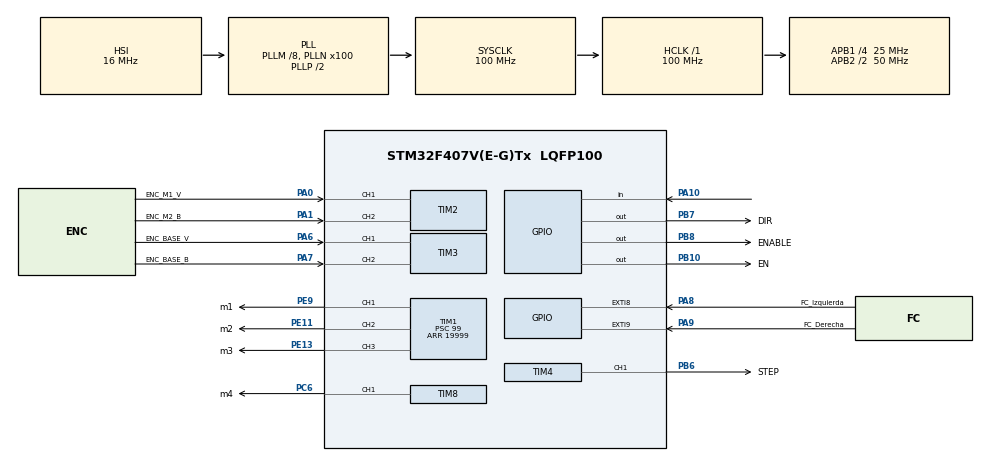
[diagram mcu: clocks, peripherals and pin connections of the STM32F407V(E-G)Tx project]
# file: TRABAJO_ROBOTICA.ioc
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Mcu.Family=STM32F4
Mcu.Name=STM32F407V(E-G)Tx
Mcu.Package=LQFP100
NVIC.PriorityGroup=NVIC_PRIORITYGROUP_0
PA0-WKUP.GPIO_Label=ENC_M1_V
PA0-WKUP.GPIO_PuPd=GPIO_PULLUP
PA0-WKUP.Signal=S_TIM2_CH1_ETR
PA1.GPIO_Label=ENC_M2_B
PA1.GPIO_PuPd=GPIO_PULLUP
PA1.Signal=S_TIM2_CH2
PA10.GPIO_PuPd=GPIO_PULLUP
PA10.Signal=GPIO_Input
PA6.GPIO_Label=ENC_BASE_V
PA6.GPIO_PuPd=GPIO_PULLUP
PA6.Signal=S_TIM3_CH1
PA7.GPIO_Label=ENC_BASE_B
PA7.GPIO_PuPd=GPIO_PULLUP
PA7.Signal=S_TIM3_CH2
PA8.GPIO_Label=FC_Izquierda
PA8.GPIO_ModeDefaultEXTI=GPIO_MODE_IT_FALLING
PA8.GPIO_PuPd=GPIO_PULLUP
PA8.Signal=GPXTI8
PA9.GPIO_Label=FC_Derecha
PA9.GPIO_ModeDefaultEXTI=GPIO_MODE_IT_FALLING
PA9.GPIO_PuPd=GPIO_PULLUP
PA9.Signal=GPXTI9
PB10.GPIO_Label=EN
PB10.Signal=GPIO_Output
PB6.GPIO_Label=STEP
PB6.Signal=S_TIM4_CH1
PB7.GPIO_Label=DIR
PB7.Signal=GPIO_Output
PB8.GPIO_Label=ENABLE
PB8.Signal=GPIO_Output
PC6.GPIO_Label=m4
PC6.Signal=S_TIM8_CH1
PE11.GPIO_Label=m2
PE11.Signal=S_TIM1_CH2
PE13.GPIO_Label=m3
PE13.Signal=S_TIM1_CH3
PE9.GPIO_Label=m1
PE9.Signal=S_TIM1_CH1
ProjectManager.HeapSize=0x200
ProjectManager.StackSize=0x400
ProjectManager.TargetToolchain=STM32CubeIDE
RCC.48MHZClocksFreq_Value=28571428.57142857
RCC.AHBFreq_Value=100000000
RCC.APB1CLKDivider=RCC_HCLK_DIV4
RCC.APB1Freq_Value=25000000
RCC.APB1TimFreq_Value=50000000
RCC.APB2CLKDivider=RCC_HCLK_DIV2
RCC.APB2Freq_Value=50000000
RCC.APB2TimFreq_Value=100000000
RCC.CortexFreq_Value=100000000
RCC.HCLKFreq_Value=100000000
RCC.HSE_VALUE=8000000
RCC.HSI_VALUE=16000000
RCC.LSE_VALUE=32768
RCC.PLLM=8
RCC.PLLN=100
RCC.PLLQ=7
RCC.SYSCLKFreq_VALUE=100000000
RCC.SYSCLKSource=RCC_SYSCLKSOURCE_PLLCLK
RCC.VCOOutputFreq_Value=200000000
SH.S_TIM1_CH1.0=TIM1_CH1,PWM Generation1 CH1
SH.S_TIM1_CH2.0=TIM1_CH2,PWM Generation2 CH2
SH.S_TIM1_CH3.0=TIM1_CH3,PWM Generation3 CH3
SH.S_TIM2_CH1_ETR.0=TIM2_CH1,Encoder_Interface
SH.S_TIM2_CH2.0=TIM2_CH2,Encoder_Interface
SH.S_TIM3_CH1.0=TIM3_CH1,Encoder_Interface
SH.S_TIM3_CH2.0=TIM3_CH2,Encoder_Interface
SH.S_TIM4_CH1.0=TIM4_CH1,PWM Generation1 CH1
SH.S_TIM8_CH1.0=TIM8_CH1,PWM Generation1 CH1
TIM1.Channel-PWM\ Generation1\ CH1=TIM_CHANNEL_1
TIM1.Channel-PWM\ Generation2\ CH2=TIM_CHANNEL_2
TIM1.Channel-PWM\ Generation3\ CH3=TIM_CHANNEL_3
TIM1.Period=19999
TIM1.Prescaler=99
TIM2.EncoderMode=TIM_ENCODERMODE_TI1
TIM2.IC1Filter=8
TIM2.IC2Filter=8
TIM3.IC1Filter=8
TIM4.Channel-PWM\ Generation1\ CH1=TIM_CHANNEL_1
TIM4.Period=1999
TIM4.Prescaler=49
TIM4.Pulse-PWM\ Generation1\ CH1=1000
TIM8.Channel-PWM\ Generation1\ CH1=TIM_CHANNEL_1
TIM8.Period=19999
TIM8.Prescaler=99
VP_TIM1_VS_ClockSourceINT.Mode=Internal
board=STM32F407G-DISC1

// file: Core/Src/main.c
/* USER CODE BEGIN Header */
/**
  ******************************************************************************
  * @file           : main.c
  * @brief          : Main program body
  ******************************************************************************
  * @attention
  *
  * Copyright (c) 2026 STMicroelectronics.
  * All rights reserved.
  *
  * This software is licensed under terms that can be found in the LICENSE file
  * in the root directory of this software component.
  * If no LICENSE file comes with this software, it is provided AS-IS.
  *
  ******************************************************************************
  */
/* USER CODE END Header */
#include "main.h"

/* USER CODE BEGIN Includes */

#include <math.h>

/* USER CODE END Includes */

TIM_HandleTypeDef htim1;
TIM_HandleTypeDef htim2;
TIM_HandleTypeDef htim3;
TIM_HandleTypeDef htim4;
TIM_HandleTypeDef htim8;

/* USER CODE BEGIN PV */

//------------------stepper-------------------------------------------

#define STEP_TIM                htim4
#define STEP_TIM_CHANNEL        TIM_CHANNEL_1

#define STEP_DIR_PORT           GPIOB
#define STEP_DIR_PIN            GPIO_PIN_7

#define STEP_EN_PORT            GPIOB
#define STEP_EN_PIN             GPIO_PIN_8

#define DIR_POSITIVE            GPIO_PIN_SET
#define DIR_NEGATIVE            GPIO_PIN_RESET

// TIM4 está en APB1. Con tu clock: APB1 timer clock = 50 MHz.
// Prescaler TIM4 = 49 -> tick = 1 MHz -> 1 us.
#define STEP_TIMER_TICK_HZ      1000000UL

// Full-step
#define MICROSTEP               1.0f
#define FULL_STEPS_PER_REV      200.0f
#define STEPS_PER_REV           (FULL_STEPS_PER_REV * MICROSTEP)

// Corredera: 8 mm por vuelta
#define MM_PER_REV              8.0f
#define STEPS_PER_MM            (STEPS_PER_REV / MM_PER_REV)

// Velocidad elegida
#define BASE_SPEED_MM_S         40.0f
#define MIN_SPEED_MM_S          10.0f

volatile uint8_t stepper_is_running = 0;
volatile uint8_t stepper_current_dir = 0;

#define DIR_TO_RIGHT            0
#define DIR_TO_LEFT             1

//-----------------------------------------------------------------------

//------------------FCs-------------------------------------------

// PA9 = final derecho
// PA8 = final izquierdo

#define LIMIT_RIGHT_PORT        GPIOA
#define LIMIT_RIGHT_PIN         GPIO_PIN_9

#define LIMIT_LEFT_PORT         GPIOA
#define LIMIT_LEFT_PIN          GPIO_PIN_8

volatile uint8_t limit_right_hit = 0;
volatile uint8_t limit_left_hit = 0;

volatile uint32_t last_limit_right_ms = 0;
volatile uint32_t last_limit_left_ms = 0;
//-----------------------------------------------------------------------

//------------------Encoder_Base-------------------------------------------

#define ENC_TIM                 htim3

volatile int32_t encoder_position_counts = 0;
static uint16_t encoder_last_raw = 0;

volatile int32_t encoder_total_counts = 0;
volatile int32_t encoder_mid_counts = 0;

volatile uint8_t homing_done = 0;

// Debug
volatile uint16_t dbg_enc_raw = 0;
volatile int32_t dbg_enc_pos = 0;
volatile int32_t dbg_enc_total = 0;
volatile int32_t dbg_enc_mid = 0;
volatile uint8_t dbg_homing_state = 0;

volatile uint8_t dbg_limit_right = 0;
volatile uint8_t dbg_limit_left = 0;

//-----------------------------------------------------------------------

//------------------Maquina estados Homing-------------------------------------------
typedef enum
{
    HOMING_START = 0,
    HOMING_MOVE_TO_RIGHT,
    HOMING_AT_RIGHT,
    HOMING_MOVE_TO_LEFT,
    HOMING_AT_LEFT,
    HOMING_MOVE_TO_MID,
    HOMING_DONE
} HomingState;

volatile HomingState homing_state = HOMING_START;

// Margen de parada en cuentas de encoder para el punto medio.
#define MID_TOLERANCE_COUNTS    10

//-----------------------------------------------------------------------

//------------------Motor M1 + FC-------------------------------------------
#define M1_SERVO_TIM            htim1
#define M1_SERVO_CHANNEL        TIM_CHANNEL_1   // Cambiar a CH2/CH3 si tu señal está en otro pin

// Para esta prueba uso PA8 como final de cero.
// Si el final de motor 1 está en otro pin, cambia estas dos líneas.
#define M1_ZERO_FC_PORT         GPIOA
#define M1_ZERO_FC_PIN          GPIO_PIN_10

// Servo continuo: ajustar si tu servo no se queda quieto exactamente en 1500
#define M1_SERVO_STOP_US        1500

// Velocidad lenta hacia el final.
// Si se mueve en sentido contrario al final, cambia 1420 por 1580.
#define M1_SERVO_HOME_US        1200

#define M1_SERVO_MIN_US         1000
#define M1_SERVO_MAX_US         2000

// Seguridad: si en 3 s no encuentra el final, para.
#define M1_HOME_TIMEOUT_MS      1500

// Antirrebote del final
#define M1_FC_DEBOUNCE_MS       30

typedef enum
{
    M1_IDLE = 0,
    M1_HOMING,
    M1_ZERO_OK,
    M1_ERROR_TIMEOUT
} Motor1State;

volatile Motor1State m1_state = M1_IDLE;

volatile uint8_t m1_zero_done = 0;
volatile uint8_t m1_error = 0;

volatile uint16_t dbg_m1_pwm_us = 1500;
volatile uint8_t dbg_m1_fc_zero = 0;
volatile uint8_t dbg_m1_state = 0;

static uint32_t m1_home_start_ms = 0;
static uint32_t m1_fc_pressed_since_ms = 0;

//-----------------------------------------------------------------------

//------------------------------Encoder Motor 1-----------------------------------------
#define M1_ENC_TIM              htim2

volatile int32_t m1_encoder_counts = 0;
volatile int32_t m1_encoder_zero_counts = 0;

volatile int32_t dbg_m1_enc_counts = 0;
volatile uint32_t dbg_m1_enc_raw = 0;

//-----------------------------------------------------------------------

//------------------ Control posicion Motor 1 ----------------------------

// IMPORTANTE:
// Este valor hay que calibrarlo.
// Después de hacer homing, mueve el eje hasta 180 grados físicos
// y mira dbg_m1_enc_counts. Ese valor será M1_COUNTS_180.
#define M1_COUNTS_180              1000.0f   // provisional, luego se cambia
#define M1_HOME_POSITION_DEG        90.0f
#define M1_CONTROL_PERIOD_MS       10

#define M1_POS_TOLERANCE_DEG       0.8f
#define M1_POS_RELEASE_DEG         1.8f

// PWM alrededor del neutro
#define M1_PWM_MIN_MOVE_US         45.0f
#define M1_PWM_MAX_DELTA_US        500.0f

// Ganancia proporcional: us de PWM por grado de error
#define M1_KP_US_PER_DEG           8.0f

#define M1_FAST_ERROR_DEG          15.0f
#define M1_MEDIUM_ERROR_DEG        5.0f

#define M1_PWM_FAST_DELTA_US       500.0f
#define M1_PWM_MEDIUM_DELTA_US     280.0f
#define M1_PWM_NEAR_DELTA_US       100.0f

// Si al mandar +30 grados se mueve hacia el final PA10, cambia esto a -1
#define M1_CONTROL_SIGN            1

volatile float m1_target_deg = 0.0f;
volatile float m1_current_deg = 0.0f;
volatile float m1_error_deg = 0.0f;

volatile uint8_t m1_position_control_enabled = 0;

volatile uint16_t dbg_m1_control_pwm = 1500;
volatile float dbg_m1_target_deg = 0.0f;
volatile float dbg_m1_current_deg = 0.0f;
volatile float dbg_m1_error_deg = 0.0f;
volatile uint8_t m1_in_position = 0;

//-----------------------------------------------------------------------

//------------------ Servos posicionales TIM1 CH2 / CH3 ------------------

#define POS_SERVO_TIM              htim1

#define SERVO2_CHANNEL             TIM_CHANNEL_2
#define SERVO3_CHANNEL             TIM_CHANNEL_3

// Rango seguro inicial.
// Si tus servos aceptan más recorrido, luego podemos probar 500-2500.
#define POS_SERVO_MIN_US           500
#define POS_SERVO_MAX_US           2500
#define POS_SERVO_CENTER_US        1500

#define SERVO2_HOME_DEG            90.0f
#define SERVO3_HOME_DEG            90.0f

// Límites lógicos de seguridad
#define SERVO2_MIN_DEG             0.0f
#define SERVO2_MAX_DEG             180.0f

#define SERVO3_MIN_DEG             0.0f
#define SERVO3_MAX_DEG             180.0f

// Si alguno gira al revés físicamente, cambia su INVERT a 1
#define SERVO2_INVERT              0
#define SERVO3_INVERT              0

volatile float servo2_target_deg = 90.0f;
volatile float servo3_target_deg = 90.0f;

volatile uint16_t dbg_servo2_pwm_us = 1500;
volatile uint16_t dbg_servo3_pwm_us = 1500;

volatile float dbg_servo2_deg = 90.0f;
volatile float dbg_servo3_deg = 90.0f;

//-----------------------------------------------------------------------

//------------------ Servo pequeño TIM8 CH1 ------------------

#define SMALL_SERVO_TIM              htim8
#define SMALL_SERVO_CHANNEL          TIM_CHANNEL_1

#define SMALL_SERVO_MIN_US           500
#define SMALL_SERVO_MAX_US           2500
#define SMALL_SERVO_CENTER_US        1500

#define SMALL_SERVO_HOME_DEG         90.0f

#define SMALL_SERVO_MIN_DEG          0.0f
#define SMALL_SERVO_MAX_DEG          180.0f

// Si gira al revés, cambiar a 1
#define SMALL_SERVO_INVERT           0

volatile float small_servo_target_deg = 90.0f;
volatile float dbg_small_servo_deg = 90.0f;
volatile uint16_t dbg_small_servo_pwm_us = 1500;

//-----------------------------------------------------------------------

/* USER CODE END PV */

void SystemClock_Config(void);
static void MX_GPIO_Init(void);
static void MX_TIM1_Init(void);
static void MX_TIM2_Init(void);
static void MX_TIM3_Init(void);
static void MX_TIM4_Init(void);
static void MX_TIM8_Init(void);

/* USER CODE BEGIN 0 */

// Prototipos Motor 1 - Encoder
static void Motor1_Encoder_Start(void);
static void Motor1_Encoder_ResetZero(void);
static void Motor1_Encoder_Update(void);

// Prototipos Motor 1 - Servo / Homing
static void Motor1_Servo_SetUs(uint16_t us);
static void Motor1_Servo_Stop(void);
static void Motor1_Servo_StartPWM(void);
static uint8_t Motor1_ZeroFC_IsPressedRaw(void);
static uint8_t Motor1_ZeroFC_IsPressedDebounced(void);
static void Motor1_HomeZero_Start(void);
static void Motor1_HomeZero_Update(void);

//prototipos control
static float Motor1_Counts_To_Deg(int32_t counts);
static int32_t Motor1_Deg_To_Counts(float deg);
static void Motor1_SetTargetDeg(float deg);
static void Motor1_PositionControl_Update(void);

static void Motor1_Start(void);
static void Motor1_Task(void);
static void Motor1_GoToDeg(float deg);
static void Motor1_GoToZero(void);
static void Motor1_GoTo90(void);
static uint8_t Motor1_IsReady(void);
static uint8_t Motor1_IsInPosition(void);
static void Motor1_ZeroReached(void);

// Prototipos servos posicionales TIM1 CH2 / CH3
static float PosServo_ClampDeg(float deg, float min_deg, float max_deg);
static uint16_t PosServo_DegToUs(float deg);
static void PosServo_SetChannelDeg(uint32_t channel,
                                   float deg,
                                   float min_deg,
                                   float max_deg,
                                   uint8_t invert,
                                   volatile float *dbg_deg,
                                   volatile uint16_t *dbg_pwm_us);

static void PosServos_Start(void);
static void PosServos_Home90(void);

static void Servo2_SetDeg(float deg);
static void Servo3_SetDeg(float deg);
static void Servo2_Home90(void);
static void Servo3_Home90(void);

// Prototipos servo pequeño TIM8 CH1
static uint16_t SmallServo_DegToUs(float deg);
static void SmallServo_Start(void);
static void SmallServo_SetDeg(float deg);
static void SmallServo_Home90(void);

//-----------------------------stepper------------------------------------------

static void Stepper_Enable(void)
{
    // A4988 ENABLE activo en LOW
    HAL_GPIO_WritePin(STEP_EN_PORT, STEP_EN_PIN, GPIO_PIN_RESET);
}

static void Stepper_Disable(void)
{
    HAL_GPIO_WritePin(STEP_EN_PORT, STEP_EN_PIN, GPIO_PIN_SET);
}

static void Stepper_SetDir(uint8_t dir)
{
    if (dir)
    {
        HAL_GPIO_WritePin(STEP_DIR_PORT, STEP_DIR_PIN, DIR_POSITIVE);
    }
    else
    {
        HAL_GPIO_WritePin(STEP_DIR_PORT, STEP_DIR_PIN, DIR_NEGATIVE);
    }
}

static uint32_t Stepper_MmS_To_StepsS(float speed_mm_s)
{
    if (speed_mm_s < MIN_SPEED_MM_S)
    {
        speed_mm_s = MIN_SPEED_MM_S;
    }

    return (uint32_t)(speed_mm_s * STEPS_PER_MM);
}

static void Stepper_SetSpeedStepsPerSec(uint32_t steps_per_sec)
{
    if (steps_per_sec == 0)
    {
        HAL_TIM_PWM_Stop(&STEP_TIM, STEP_TIM_CHANNEL);
        return;
    }

    uint32_t period_us = STEP_TIMER_TICK_HZ / steps_per_sec;

    if (period_us < 20)
    {
        period_us = 20;
    }

    uint32_t arr = period_us - 1;
    uint32_t ccr = period_us / 2;

    __HAL_TIM_SET_AUTORELOAD(&STEP_TIM, arr);
    __HAL_TIM_SET_COMPARE(&STEP_TIM, STEP_TIM_CHANNEL, ccr);
    __HAL_TIM_SET_COUNTER(&STEP_TIM, 0);
}

static void Stepper_StartStepsPerSec(uint32_t steps_per_sec, uint8_t dir)
{
    Stepper_SetDir(dir);
    Stepper_SetSpeedStepsPerSec(steps_per_sec);

    stepper_current_dir = dir;
    stepper_is_running = 1;

    Stepper_Enable();

    HAL_TIM_PWM_Start(&STEP_TIM, STEP_TIM_CHANNEL);
}

static void Stepper_StartMmS(float speed_mm_s, uint8_t dir)
{
    uint32_t steps_per_sec = Stepper_MmS_To_StepsS(speed_mm_s);
    Stepper_StartStepsPerSec(steps_per_sec, dir);
}

static void Stepper_StopHold(void)
{
    HAL_TIM_PWM_Stop(&STEP_TIM, STEP_TIM_CHANNEL);

    stepper_is_running = 0;

    // Deja el A4988 activo para mantener par
    Stepper_Enable();
}

//-----------------------------------------------------------------------

//-----------------------------FCs------------------------------------------
static uint8_t LimitRight_IsPressed(void)
{
    return (HAL_GPIO_ReadPin(LIMIT_RIGHT_PORT, LIMIT_RIGHT_PIN) == GPIO_PIN_RESET);
}

static uint8_t LimitLeft_IsPressed(void)
{
    return (HAL_GPIO_ReadPin(LIMIT_LEFT_PORT, LIMIT_LEFT_PIN) == GPIO_PIN_RESET);
}

void HAL_GPIO_EXTI_Callback(uint16_t GPIO_Pin)
{
    uint32_t now = HAL_GetTick();

    if (GPIO_Pin == LIMIT_RIGHT_PIN)
    {
        if (now - last_limit_right_ms < 50)
        {
            return;
        }

        last_limit_right_ms = now;

        if (LimitRight_IsPressed())
        {
            limit_right_hit = 1;

            if (stepper_is_running && stepper_current_dir == DIR_TO_RIGHT)
            {
                Stepper_StopHold();
            }
        }
    }

    if (GPIO_Pin == LIMIT_LEFT_PIN)
    {
        if (now - last_limit_left_ms < 50)
        {
            return;
        }

        last_limit_left_ms = now;

        if (LimitLeft_IsPressed())
        {
            limit_left_hit = 1;

            if (stepper_is_running && stepper_current_dir == DIR_TO_LEFT)
            {
                Stepper_StopHold();
            }
        }
    }
}

//-----------------------------------------------------------------------

//------------------Encoder_Base-------------------------------------------
static void Encoder_Start(void)
{
    HAL_TIM_Encoder_Start(&ENC_TIM, TIM_CHANNEL_ALL);

    __HAL_TIM_SET_COUNTER(&ENC_TIM, 0);

    encoder_last_raw = 0;
    encoder_position_counts = 0;
}

static void Encoder_ResetPosition(void)
{
    __HAL_TIM_SET_COUNTER(&ENC_TIM, 0);

    encoder_last_raw = 0;
    encoder_position_counts = 0;
}

static void Encoder_Update(void)
{
    uint16_t raw_now = (uint16_t)__HAL_TIM_GET_COUNTER(&ENC_TIM);

    /*
       TIM3 es de 16 bits. Esta resta con int16_t gestiona overflow.
       Si pasa de 65535 a 0, delta = +1.
       Si pasa de 0 a 65535, delta = -1.
    */
    int16_t delta = (int16_t)(raw_now - encoder_last_raw);

    encoder_last_raw = raw_now;

    encoder_position_counts += delta;

    dbg_enc_raw = raw_now;
    dbg_enc_pos = encoder_position_counts;
    dbg_enc_total = encoder_total_counts;
    dbg_enc_mid = encoder_mid_counts;
}

//-----------------------------------------------------------------------

//------------------Maquina estados Homing-------------------------------------------
static int32_t abs32(int32_t x)
{
    if (x < 0)
    {
        return -x;
    }
    return x;
}

static void Homing_Update(void)
{
    Encoder_Update();

    dbg_homing_state = (uint8_t)homing_state;
    dbg_limit_right = LimitRight_IsPressed();
    dbg_limit_left = LimitLeft_IsPressed();

    switch (homing_state)
    {
        case HOMING_START:
        {
            homing_done = 0;

            limit_right_hit = 0;
            limit_left_hit = 0;

            /*
               Primer movimiento:
               ir a la derecha hasta PA9.
            */
            Stepper_StartMmS(BASE_SPEED_MM_S, DIR_TO_RIGHT);

            homing_state = HOMING_MOVE_TO_RIGHT;
            break;
        }

        case HOMING_MOVE_TO_RIGHT:
        {
            if (LimitRight_IsPressed() || limit_right_hit)
            {
                Stepper_StopHold();
                HAL_Delay(200);

                /*
                   PA9, final derecho, pasa a ser posición cero.
                */
                Encoder_ResetPosition();

                limit_right_hit = 0;
                limit_left_hit = 0;

                homing_state = HOMING_AT_RIGHT;
            }
            break;
        }

        case HOMING_AT_RIGHT:
        {
            HAL_Delay(300);

            /*
               Desde la derecha vamos hacia la izquierda.
               Al ir a la izquierda, el encoder decrementa.
            */
            Stepper_StartMmS(BASE_SPEED_MM_S, DIR_TO_LEFT);

            homing_state = HOMING_MOVE_TO_LEFT;
            break;
        }

        case HOMING_MOVE_TO_LEFT:
        {
            if (LimitLeft_IsPressed() || limit_left_hit)
            {
                Stepper_StopHold();
                HAL_Delay(200);

                Encoder_Update();

                /*
                   Estamos en el final izquierdo.
                   Derecha era 0.
                   Izquierda puede ser negativa o positiva según el signo real del encoder.
                */
                encoder_total_counts = encoder_position_counts;
                encoder_mid_counts = encoder_total_counts / 2;

                /*
                   Seguridad:
                   Si el encoder apenas ha contado, algo va mal.
                   Pero ahora miramos valor absoluto, no signo.
                */
                if (abs32(encoder_total_counts) < 100)
                {
                    Stepper_StopHold();
                    homing_done = 0;
                    homing_state = HOMING_DONE;
                    break;
                }

                limit_right_hit = 0;
                limit_left_hit = 0;

                homing_state = HOMING_AT_LEFT;
            }
            break;
        }

        case HOMING_AT_LEFT:
        {
            HAL_Delay(300);

            /*
               Estamos a la izquierda, con encoder negativo.
               Volvemos hacia la derecha.
               Hacia la derecha el encoder incrementa.
            */
            Stepper_StartMmS(BASE_SPEED_MM_S, DIR_TO_RIGHT);

            homing_state = HOMING_MOVE_TO_MID;
            break;
        }

        case HOMING_MOVE_TO_MID:
        {
            /*
               Queremos ir desde el final izquierdo hacia el punto medio.

               Caso A:
               derecha = 0
               izquierda = -20000
               centro = -10000
               al ir hacia la derecha: -20000 -> -19000 -> ... -> -10000
               condición: encoder_position_counts >= encoder_mid_counts

               Caso B:
               derecha = 0
               izquierda = +20000
               centro = +10000
               al ir hacia la derecha: +20000 -> +19000 -> ... -> +10000
               condición: encoder_position_counts <= encoder_mid_counts
            */

            if (encoder_total_counts < 0)
            {
                if (encoder_position_counts >= encoder_mid_counts - MID_TOLERANCE_COUNTS)
                {
                    Stepper_StopHold();

                    homing_done = 1;
                    homing_state = HOMING_DONE;
                }
            }
            else
            {
                if (encoder_position_counts <= encoder_mid_counts + MID_TOLERANCE_COUNTS)
                {
                    Stepper_StopHold();

                    homing_done = 1;
                    homing_state = HOMING_DONE;
                }
            }

            /*
               Seguridad:
               Si toca el final derecho antes de llegar al centro, paramos.
            */
            if (LimitRight_IsPressed() || limit_right_hit)
            {
                Stepper_StopHold();

                homing_done = 0;
                homing_state = HOMING_DONE;
            }

            break;
        }

        case HOMING_DONE:
        {
            Stepper_StopHold();
            break;
        }

        default:
        {
            Stepper_StopHold();
            homing_done = 0;
            homing_state = HOMING_DONE;
            break;
        }
    }
}

//-----------------------------------------------------------------------

//------------------ Motor 1: servo continuo + FC cero ------------------

static void Motor1_Servo_SetUs(uint16_t us)
{
    if (us < M1_SERVO_MIN_US)
    {
        us = M1_SERVO_MIN_US;
    }

    if (us > M1_SERVO_MAX_US)
    {
        us = M1_SERVO_MAX_US;
    }

    __HAL_TIM_SET_COMPARE(&M1_SERVO_TIM, M1_SERVO_CHANNEL, us);

    dbg_m1_pwm_us = us;
}

static void Motor1_Servo_Stop(void)
{
    Motor1_Servo_SetUs(M1_SERVO_STOP_US);
}

static void Motor1_Servo_StartPWM(void)
{
    HAL_TIM_PWM_Start(&M1_SERVO_TIM, M1_SERVO_CHANNEL);

    // Muy importante: al arrancar, servo parado.
    Motor1_Servo_Stop();
}

static uint8_t Motor1_ZeroFC_IsPressedRaw(void)
{
    // Final con pull-up: pulsado = LOW
    return (HAL_GPIO_ReadPin(M1_ZERO_FC_PORT, M1_ZERO_FC_PIN) == GPIO_PIN_RESET);
}

static uint8_t Motor1_ZeroFC_IsPressedDebounced(void)
{
    uint32_t now = HAL_GetTick();

    if (Motor1_ZeroFC_IsPressedRaw())
    {
        if (m1_fc_pressed_since_ms == 0)
        {
            m1_fc_pressed_since_ms = now;
        }

        if ((now - m1_fc_pressed_since_ms) >= M1_FC_DEBOUNCE_MS)
        {
            return 1;
        }
    }
    else
    {
        m1_fc_pressed_since_ms = 0;
    }

    return 0;
}

static void Motor1_HomeZero_Start(void)
{
    m1_zero_done = 0;
    m1_error = 0;
    m1_fc_pressed_since_ms = 0;
    m1_in_position = 0;

    // Por seguridad, antes de empezar, servo parado
    Motor1_Servo_Stop();

    // Si al arrancar ya está pisando el final PA10,
    // esa posición es directamente el cero físico.
    if (Motor1_ZeroFC_IsPressedRaw())
    {
        Motor1_ZeroReached();
        return;
    }

    // Si no está en el final, empezamos búsqueda de cero
    m1_home_start_ms = HAL_GetTick();

    // Movimiento hacia el final de carrera PA10
    Motor1_Servo_SetUs(M1_SERVO_HOME_US);

    m1_state = M1_HOMING;
}

static void Motor1_HomeZero_Update(void)
{
    uint32_t now = HAL_GetTick();

    dbg_m1_fc_zero = Motor1_ZeroFC_IsPressedRaw();
    dbg_m1_state = (uint8_t)m1_state;

    switch (m1_state)
    {
        case M1_IDLE:
        {
            Motor1_Servo_Stop();
            break;
        }

        case M1_HOMING:
        {
        	if (Motor1_ZeroFC_IsPressedDebounced())
        	{
        		Motor1_ZeroReached();
        	    break;
        	}

            if ((now - m1_home_start_ms) > M1_HOME_TIMEOUT_MS)
            {
                Motor1_Servo_Stop();

                m1_zero_done = 0;
                m1_error = 1;
                m1_state = M1_ERROR_TIMEOUT;
                break;
            }

            break;
        }

        case M1_ZERO_OK:
        {

            break;
        }

        case M1_ERROR_TIMEOUT:
        {
            Motor1_Servo_Stop();
            break;
        }

        default:
        {
            Motor1_Servo_Stop();

            m1_zero_done = 0;
            m1_error = 1;
            m1_state = M1_ERROR_TIMEOUT;
            break;
        }
    }
}

//-----------------------------------------------------------------------

//------------------ Encoder Motor 1 ------------------------------------

static void Motor1_Encoder_Start(void)
{
    HAL_TIM_Encoder_Start(&M1_ENC_TIM, TIM_CHANNEL_ALL);

    __HAL_TIM_SET_COUNTER(&M1_ENC_TIM, 0);

    m1_encoder_counts = 0;
    m1_encoder_zero_counts = 0;

    dbg_m1_enc_counts = 0;
    dbg_m1_enc_raw = 0;
}

static void Motor1_Encoder_ResetZero(void)
{
    __HAL_TIM_SET_COUNTER(&M1_ENC_TIM, 0);

    m1_encoder_counts = 0;
    m1_encoder_zero_counts = 0;

    dbg_m1_enc_counts = 0;
    dbg_m1_enc_raw = 0;
}

static void Motor1_Encoder_Update(void)
{
    uint32_t raw = __HAL_TIM_GET_COUNTER(&M1_ENC_TIM);

    /*
       TIM2 es de 32 bits.

       Si el encoder va en sentido positivo:
       raw = 0, 1, 2, 3...

       Si va en sentido negativo desde cero:
       raw = 0xFFFFFFFF, 0xFFFFFFFE...
       Al convertirlo a int32_t se convierte en -1, -2...
    */
    m1_encoder_counts = (int32_t)raw;

    dbg_m1_enc_raw = raw;
    dbg_m1_enc_counts = m1_encoder_counts;
}

//-----------------------------------------------------------------------

//------------------ Control posicion Motor 1 ----------------------------

static float Motor1_Counts_To_Deg(int32_t counts)
{
    return ((float)counts * 180.0f) / M1_COUNTS_180;
}

static int32_t Motor1_Deg_To_Counts(float deg)
{
    return (int32_t)((deg * M1_COUNTS_180) / 180.0f);
}

static void Motor1_SetTargetDeg(float deg)
{
    if (deg < 0.0f)
    {
        deg = 0.0f;
    }

    if (deg > 180.0f)
    {
        deg = 180.0f;
    }

    m1_target_deg = deg;
    m1_position_control_enabled = 1;

    // Nuevo objetivo: salimos del estado "ya estoy en posición"
    m1_in_position = 0;

    dbg_m1_target_deg = m1_target_deg;
}

static void Motor1_PositionControl_Update(void)
{
    static uint32_t last_control_ms = 0;

    uint32_t now = HAL_GetTick();

    if ((now - last_control_ms) < M1_CONTROL_PERIOD_MS)
    {
        return;
    }

    last_control_ms = now;

    // Si estamos haciendo homing, el control de posición no debe tocar el servo
    if (m1_state == M1_HOMING)
    {
        return;
    }

    // Si no se ha hecho cero todavía, no dejamos controlar posición
    if (!m1_zero_done || m1_error)
    {
        Motor1_Servo_Stop();
        m1_position_control_enabled = 0;
        dbg_m1_control_pwm = M1_SERVO_STOP_US;
        return;
    }

    // Si el control no está activado, servo parado
    if (!m1_position_control_enabled)
    {
        Motor1_Servo_Stop();
        dbg_m1_control_pwm = M1_SERVO_STOP_US;
        return;
    }

    // Actualizamos encoder y calculamos posición
    Motor1_Encoder_Update();

    m1_current_deg = Motor1_Counts_To_Deg(m1_encoder_counts);
    m1_error_deg = m1_target_deg - m1_current_deg;

    dbg_m1_current_deg = m1_current_deg;
    dbg_m1_error_deg = m1_error_deg;
    dbg_m1_target_deg = m1_target_deg;

    // Seguridad de cero:
    // Si toca el final PA10, esa posición vuelve a ser cero absoluto.
    if (Motor1_ZeroFC_IsPressedRaw())
    {
        Motor1_Encoder_ResetZero();

        m1_current_deg = 0.0f;
        m1_error_deg = m1_target_deg - m1_current_deg;

        dbg_m1_current_deg = m1_current_deg;
        dbg_m1_error_deg = m1_error_deg;

        // Si el objetivo era cerca de cero, nos quedamos parados
        if (m1_target_deg <= 1.0f)
        {
            m1_in_position = 1;

            Motor1_Servo_Stop();
            dbg_m1_control_pwm = M1_SERVO_STOP_US;
            return;
        }
    }

    float abs_error = fabsf(m1_error_deg);

    // Histéresis estrecha:
    // Si ya está en posición, no corrige mientras siga dentro del margen pequeño.
    if (m1_in_position)
    {
        if (abs_error < M1_POS_RELEASE_DEG)
        {
            Motor1_Servo_Stop();
            dbg_m1_control_pwm = M1_SERVO_STOP_US;
            return;
        }
        else
        {
            m1_in_position = 0;
        }
    }

    // Entramos en posición cuando estamos suficientemente cerca
    if (abs_error <= M1_POS_TOLERANCE_DEG)
    {
        m1_in_position = 1;

        Motor1_Servo_Stop();
        dbg_m1_control_pwm = M1_SERVO_STOP_US;
        return;
    }

    float delta_pwm = 0.0f;

    /*
       Control por zonas:

       - Lejos del objetivo: fuerza alta, para que suba bien.
       - Zona media: fuerza intermedia.
       - Cerca del objetivo: corrección pequeña, para reducir la amplitud de oscilación.
    */

    if (abs_error >= M1_FAST_ERROR_DEG)
    {
        // Lejos: mantiene fuerza alta
        delta_pwm = M1_PWM_FAST_DELTA_US;
    }
    else if (abs_error >= M1_MEDIUM_ERROR_DEG)
    {
        // Zona media
        delta_pwm = M1_PWM_MEDIUM_DELTA_US;
    }
    else
    {
        // Cerca del objetivo: corrección proporcional limitada
        delta_pwm = M1_KP_US_PER_DEG * abs_error;

        if (delta_pwm < M1_PWM_MIN_MOVE_US)
        {
            delta_pwm = M1_PWM_MIN_MOVE_US;
        }

        if (delta_pwm > M1_PWM_NEAR_DELTA_US)
        {
            delta_pwm = M1_PWM_NEAR_DELTA_US;
        }
    }

    int16_t pwm_cmd = M1_SERVO_STOP_US;

    if (m1_error_deg > 0.0f)
    {
        pwm_cmd = M1_SERVO_STOP_US + (int16_t)(M1_CONTROL_SIGN * delta_pwm);
    }
    else
    {
        pwm_cmd = M1_SERVO_STOP_US - (int16_t)(M1_CONTROL_SIGN * delta_pwm);
    }

    // Limitamos por seguridad
    if (pwm_cmd < M1_SERVO_MIN_US)
    {
        pwm_cmd = M1_SERVO_MIN_US;
    }

    if (pwm_cmd > M1_SERVO_MAX_US)
    {
        pwm_cmd = M1_SERVO_MAX_US;
    }

    // Seguridad extra:
    // En tu montaje, ir hacia el final PA10 es PWM menor que STOP.
    if (Motor1_ZeroFC_IsPressedRaw() && pwm_cmd < M1_SERVO_STOP_US)
    {
        Motor1_Servo_Stop();
        Motor1_Encoder_ResetZero();

        m1_current_deg = 0.0f;
        m1_error_deg = m1_target_deg;

        dbg_m1_current_deg = m1_current_deg;
        dbg_m1_error_deg = m1_error_deg;
        dbg_m1_control_pwm = M1_SERVO_STOP_US;

        return;
    }

    Motor1_Servo_SetUs((uint16_t)pwm_cmd);
    dbg_m1_control_pwm = (uint16_t)pwm_cmd;
}

static uint8_t Motor1_IsReady(void)
{
    return (m1_zero_done && !m1_error);
}

static uint8_t Motor1_IsInPosition(void)
{
    return (Motor1_IsReady() && m1_in_position);
}

static void Motor1_GoToDeg(float deg)
{
    if (!Motor1_IsReady())
    {
        return;
    }

    Motor1_SetTargetDeg(deg);
}

static void Motor1_GoToZero(void)
{
    Motor1_GoToDeg(0.0f);
}

static void Motor1_GoTo90(void)
{
    Motor1_GoToDeg(90.0f);
}

static void Motor1_Start(void)
{
    Motor1_Servo_StartPWM();
    Motor1_Encoder_Start();

    HAL_Delay(1000);

    Motor1_HomeZero_Start();
}

static void Motor1_Task(void)
{
    Motor1_HomeZero_Update();

    if (Motor1_IsReady())
    {
        Motor1_PositionControl_Update();
    }
}

static void Motor1_ZeroReached(void)
{
    Motor1_Servo_Stop();

    // Esta posición física es 0 grados reales
    Motor1_Encoder_ResetZero();

    m1_zero_done = 1;
    m1_error = 0;
    m1_state = M1_ZERO_OK;

    // Homing final: después de encontrar 0°, ir a 90°
    Motor1_SetTargetDeg(M1_HOME_POSITION_DEG);
}

//-----------------------------------------------------------------------

//------------------ Servos posicionales TIM1 CH2 / CH3 ------------------

static float PosServo_ClampDeg(float deg, float min_deg, float max_deg)
{
    if (deg < min_deg)
    {
        deg = min_deg;
    }

    if (deg > max_deg)
    {
        deg = max_deg;
    }

    return deg;
}

static uint16_t PosServo_DegToUs(float deg)
{
    if (deg < 0.0f)
    {
        deg = 0.0f;
    }

    if (deg > 180.0f)
    {
        deg = 180.0f;
    }

    float us = (float)POS_SERVO_MIN_US +
               ((float)(POS_SERVO_MAX_US - POS_SERVO_MIN_US) * deg / 180.0f);

    return (uint16_t)(us + 0.5f);
}

static void PosServo_SetChannelDeg(uint32_t channel,
                                   float deg,
                                   float min_deg,
                                   float max_deg,
                                   uint8_t invert,
                                   volatile float *dbg_deg,
                                   volatile uint16_t *dbg_pwm_us)
{
    float logical_deg = PosServo_ClampDeg(deg, min_deg, max_deg);

    float pwm_deg = logical_deg;

    if (invert)
    {
        pwm_deg = 180.0f - logical_deg;
    }

    uint16_t pwm_us = PosServo_DegToUs(pwm_deg);

    __HAL_TIM_SET_COMPARE(&POS_SERVO_TIM, channel, pwm_us);

    *dbg_deg = logical_deg;
    *dbg_pwm_us = pwm_us;
}

static void Servo2_SetDeg(float deg)
{
    servo2_target_deg = PosServo_ClampDeg(deg, SERVO2_MIN_DEG, SERVO2_MAX_DEG);

    PosServo_SetChannelDeg(SERVO2_CHANNEL,
                           servo2_target_deg,
                           SERVO2_MIN_DEG,
                           SERVO2_MAX_DEG,
                           SERVO2_INVERT,
                           &dbg_servo2_deg,
                           &dbg_servo2_pwm_us);
}

static void Servo3_SetDeg(float deg)
{
    servo3_target_deg = PosServo_ClampDeg(deg, SERVO3_MIN_DEG, SERVO3_MAX_DEG);

    PosServo_SetChannelDeg(SERVO3_CHANNEL,
                           servo3_target_deg,
                           SERVO3_MIN_DEG,
                           SERVO3_MAX_DEG,
                           SERVO3_INVERT,
                           &dbg_servo3_deg,
                           &dbg_servo3_pwm_us);
}

static void Servo2_Home90(void)
{
    Servo2_SetDeg(SERVO2_HOME_DEG);
}

static void Servo3_Home90(void)
{
    Servo3_SetDeg(SERVO3_HOME_DEG);
}

static void PosServos_Home90(void)
{
    Servo2_Home90();
    Servo3_Home90();
}

static void PosServos_Start(void)
{
    // Ponemos primero el pulso de centro antes de arrancar PWM
    __HAL_TIM_SET_COMPARE(&POS_SERVO_TIM, SERVO2_CHANNEL, POS_SERVO_CENTER_US);
    __HAL_TIM_SET_COMPARE(&POS_SERVO_TIM, SERVO3_CHANNEL, POS_SERVO_CENTER_US);

    HAL_TIM_PWM_Start(&POS_SERVO_TIM, SERVO2_CHANNEL);
    HAL_TIM_PWM_Start(&POS_SERVO_TIM, SERVO3_CHANNEL);

    // Homing lógico a 90 grados
    PosServos_Home90();
}

//-----------------------------------------------------------------------

//------------------ Servo pequeño TIM8 CH1 ------------------

static uint16_t SmallServo_DegToUs(float deg)
{
    if (deg < 0.0f)
    {
        deg = 0.0f;
    }

    if (deg > 180.0f)
    {
        deg = 180.0f;
    }

    float us = (float)SMALL_SERVO_MIN_US +
               ((float)(SMALL_SERVO_MAX_US - SMALL_SERVO_MIN_US) * deg / 180.0f);

    return (uint16_t)(us + 0.5f);
}

static void SmallServo_SetDeg(float deg)
{
    if (deg < SMALL_SERVO_MIN_DEG)
    {
        deg = SMALL_SERVO_MIN_DEG;
    }

    if (deg > SMALL_SERVO_MAX_DEG)
    {
        deg = SMALL_SERVO_MAX_DEG;
    }

    small_servo_target_deg = deg;

    float pwm_deg = deg;

    if (SMALL_SERVO_INVERT)
    {
        pwm_deg = 180.0f - deg;
    }

    uint16_t pwm_us = SmallServo_DegToUs(pwm_deg);

    __HAL_TIM_SET_COMPARE(&SMALL_SERVO_TIM, SMALL_SERVO_CHANNEL, pwm_us);

    dbg_small_servo_deg = deg;
    dbg_small_servo_pwm_us = pwm_us;
}

static void SmallServo_Home90(void)
{
    SmallServo_SetDeg(SMALL_SERVO_HOME_DEG);
}

static void SmallServo_Start(void)
{
    // Centro antes de arrancar PWM
    __HAL_TIM_SET_COMPARE(&SMALL_SERVO_TIM, SMALL_SERVO_CHANNEL, SMALL_SERVO_CENTER_US);

    HAL_TIM_PWM_Start(&SMALL_SERVO_TIM, SMALL_SERVO_CHANNEL);

    // Homing lógico a 90 grados
    SmallServo_Home90();
}

//-----------------------------------------------------------------------

/* USER CODE END 0 */

int main(void)
{

  /* MCU Configuration--------------------------------------------------------*/

  /* Reset of all peripherals, Initializes the Flash interface and the Systick. */
  HAL_Init();

  /* Configure the system clock */
  SystemClock_Config();

  /* Initialize all configured peripherals */
  MX_GPIO_Init();
  MX_TIM1_Init();
  MX_TIM2_Init();
  MX_TIM3_Init();
  MX_TIM4_Init();
  MX_TIM8_Init();
  /* USER CODE BEGIN 2 */

  //-----------------------------stepper------------------------------------------

  Stepper_Disable();
  HAL_Delay(1000);

  //Stepper_Enable();

  //---------------------------------------------------------------------------------

  //-----------------------------encoder base------------------------------------------

  Encoder_Start();

  //---------------------------------------------------------------------------------

  //------------------Maquina estados Homing-------------------------------------------

  //homing_state = HOMING_START;
  //homing_done = 0;

  //---------------------------------------------------------------------------------

  //------------------Motor M1-------------------------------------------

  //Motor1_Servo_StartPWM();
 // Motor1_Encoder_Start();
 // HAL_Delay(1000);
  //Motor1_HomeZero_Start();

  Motor1_Start();

  //---------------------------------------------------------------------------------

  //-----------------------------servos posicionales------------------------------------------

  PosServos_Start();
  SmallServo_Start();

  //---------------------------------------------------------------------------------

  /* USER CODE END 2 */

  /* Infinite loop */
  while (1)
  {

    /* USER CODE BEGIN 3 */

	  Homing_Update();

	  Motor1_Task();

	  /*moverMotor2(110);
	    moverMotor3(110);*/

  }
  /* USER CODE END 3 */
}

void SystemClock_Config(void)
{
  RCC_OscInitTypeDef RCC_OscInitStruct = {0};
  RCC_ClkInitTypeDef RCC_ClkInitStruct = {0};

  /** Configure the main internal regulator output voltage
  */
  __HAL_RCC_PWR_CLK_ENABLE();
  __HAL_PWR_VOLTAGESCALING_CONFIG(PWR_REGULATOR_VOLTAGE_SCALE1);

  /** Initializes the RCC Oscillators according to the specified parameters
  * in the RCC_OscInitTypeDef structure.
  */
  RCC_OscInitStruct.OscillatorType = RCC_OSCILLATORTYPE_HSI;
  RCC_OscInitStruct.HSIState = RCC_HSI_ON;
  RCC_OscInitStruct.HSICalibrationValue = RCC_HSICALIBRATION_DEFAULT;
  RCC_OscInitStruct.PLL.PLLState = RCC_PLL_ON;
  RCC_OscInitStruct.PLL.PLLSource = RCC_PLLSOURCE_HSI;
  RCC_OscInitStruct.PLL.PLLM = 8;
  RCC_OscInitStruct.PLL.PLLN = 100;
  RCC_OscInitStruct.PLL.PLLP = RCC_PLLP_DIV2;
  RCC_OscInitStruct.PLL.PLLQ = 7;
  if (HAL_RCC_OscConfig(&RCC_OscInitStruct) != HAL_OK)
  {
    Error_Handler();
  }

  /** Initializes the CPU, AHB and APB buses clocks
  */
  RCC_ClkInitStruct.ClockType = RCC_CLOCKTYPE_HCLK|RCC_CLOCKTYPE_SYSCLK
                              |RCC_CLOCKTYPE_PCLK1|RCC_CLOCKTYPE_PCLK2;
  RCC_ClkInitStruct.SYSCLKSource = RCC_SYSCLKSOURCE_PLLCLK;
  RCC_ClkInitStruct.AHBCLKDivider = RCC_SYSCLK_DIV1;
  RCC_ClkInitStruct.APB1CLKDivider = RCC_HCLK_DIV4;
  RCC_ClkInitStruct.APB2CLKDivider = RCC_HCLK_DIV2;

  if (HAL_RCC_ClockConfig(&RCC_ClkInitStruct, FLASH_LATENCY_3) != HAL_OK)
  {
    Error_Handler();
  }
}

static void MX_TIM1_Init(void)
{

  TIM_ClockConfigTypeDef sClockSourceConfig = {0};
  TIM_MasterConfigTypeDef sMasterConfig = {0};
  TIM_OC_InitTypeDef sConfigOC = {0};
  TIM_BreakDeadTimeConfigTypeDef sBreakDeadTimeConfig = {0};

  htim1.Instance = TIM1;
  htim1.Init.Prescaler = 99;
  htim1.Init.CounterMode = TIM_COUNTERMODE_UP;
  htim1.Init.Period = 19999;
  htim1.Init.ClockDivision = TIM_CLOCKDIVISION_DIV1;
  htim1.Init.RepetitionCounter = 0;
  htim1.Init.AutoReloadPreload = TIM_AUTORELOAD_PRELOAD_DISABLE;
  if (HAL_TIM_Base_Init(&htim1) != HAL_OK)
  {
    Error_Handler();
  }
  sClockSourceConfig.ClockSource = TIM_CLOCKSOURCE_INTERNAL;
  if (HAL_TIM_ConfigClockSource(&htim1, &sClockSourceConfig) != HAL_OK)
  {
    Error_Handler();
  }
  if (HAL_TIM_PWM_Init(&htim1) != HAL_OK)
  {
    Error_Handler();
  }
  sMasterConfig.MasterOutputTrigger = TIM_TRGO_RESET;
  sMasterConfig.MasterSlaveMode = TIM_MASTERSLAVEMODE_DISABLE;
  if (HAL_TIMEx_MasterConfigSynchronization(&htim1, &sMasterConfig) != HAL_OK)
  {
    Error_Handler();
  }
  sConfigOC.OCMode = TIM_OCMODE_PWM1;
  sConfigOC.Pulse = 0;
  sConfigOC.OCPolarity = TIM_OCPOLARITY_HIGH;
  sConfigOC.OCNPolarity = TIM_OCNPOLARITY_HIGH;
  sConfigOC.OCFastMode = TIM_OCFAST_DISABLE;
  sConfigOC.OCIdleState = TIM_OCIDLESTATE_RESET;
  sConfigOC.OCNIdleState = TIM_OCNIDLESTATE_RESET;
  if (HAL_TIM_PWM_ConfigChannel(&htim1, &sConfigOC, TIM_CHANNEL_1) != HAL_OK)
  {
    Error_Handler();
  }
  if (HAL_TIM_PWM_ConfigChannel(&htim1, &sConfigOC, TIM_CHANNEL_2) != HAL_OK)
  {
    Error_Handler();
  }
  if (HAL_TIM_PWM_ConfigChannel(&htim1, &sConfigOC, TIM_CHANNEL_3) != HAL_OK)
  {
    Error_Handler();
  }
  sBreakDeadTimeConfig.OffStateRunMode = TIM_OSSR_DISABLE;
  sBreakDeadTimeConfig.OffStateIDLEMode = TIM_OSSI_DISABLE;
  sBreakDeadTimeConfig.LockLevel = TIM_LOCKLEVEL_OFF;
  sBreakDeadTimeConfig.DeadTime = 0;
  sBreakDeadTimeConfig.BreakState = TIM_BREAK_DISABLE;
  sBreakDeadTimeConfig.BreakPolarity = TIM_BREAKPOLARITY_HIGH;
  sBreakDeadTimeConfig.AutomaticOutput = TIM_AUTOMATICOUTPUT_DISABLE;
  if (HAL_TIMEx_ConfigBreakDeadTime(&htim1, &sBreakDeadTimeConfig) != HAL_OK)
  {
    Error_Handler();
  }
  HAL_TIM_MspPostInit(&htim1);

}

static void MX_TIM2_Init(void)
{

  TIM_Encoder_InitTypeDef sConfig = {0};
  TIM_MasterConfigTypeDef sMasterConfig = {0};

  htim2.Instance = TIM2;
  htim2.Init.Prescaler = 0;
  htim2.Init.CounterMode = TIM_COUNTERMODE_UP;
  htim2.Init.Period = 4294967295;
  htim2.Init.ClockDivision = TIM_CLOCKDIVISION_DIV1;
  htim2.Init.AutoReloadPreload = TIM_AUTORELOAD_PRELOAD_DISABLE;
  sConfig.EncoderMode = TIM_ENCODERMODE_TI1;
  sConfig.IC1Polarity = TIM_ICPOLARITY_RISING;
  sConfig.IC1Selection = TIM_ICSELECTION_DIRECTTI;
  sConfig.IC1Prescaler = TIM_ICPSC_DIV1;
  sConfig.IC1Filter = 8;
  sConfig.IC2Polarity = TIM_ICPOLARITY_RISING;
  sConfig.IC2Selection = TIM_ICSELECTION_DIRECTTI;
  sConfig.IC2Prescaler = TIM_ICPSC_DIV1;
  sConfig.IC2Filter = 8;
  if (HAL_TIM_Encoder_Init(&htim2, &sConfig) != HAL_OK)
  {
    Error_Handler();
  }
  sMasterConfig.MasterOutputTrigger = TIM_TRGO_RESET;
  sMasterConfig.MasterSlaveMode = TIM_MASTERSLAVEMODE_DISABLE;
  if (HAL_TIMEx_MasterConfigSynchronization(&htim2, &sMasterConfig) != HAL_OK)
  {
    Error_Handler();
  }

}

static void MX_TIM3_Init(void)
{

  TIM_Encoder_InitTypeDef sConfig = {0};
  TIM_MasterConfigTypeDef sMasterConfig = {0};

  htim3.Instance = TIM3;
  htim3.Init.Prescaler = 0;
  htim3.Init.CounterMode = TIM_COUNTERMODE_UP;
  htim3.Init.Period = 65535;
  htim3.Init.ClockDivision = TIM_CLOCKDIVISION_DIV1;
  htim3.Init.AutoReloadPreload = TIM_AUTORELOAD_PRELOAD_DISABLE;
  sConfig.EncoderMode = TIM_ENCODERMODE_TI1;
  sConfig.IC1Polarity = TIM_ICPOLARITY_RISING;
  sConfig.IC1Selection = TIM_ICSELECTION_DIRECTTI;
  sConfig.IC1Prescaler = TIM_ICPSC_DIV1;
  sConfig.IC1Filter = 8;
  sConfig.IC2Polarity = TIM_ICPOLARITY_RISING;
  sConfig.IC2Selection = TIM_ICSELECTION_DIRECTTI;
  sConfig.IC2Prescaler = TIM_ICPSC_DIV1;
  sConfig.IC2Filter = 0;
  if (HAL_TIM_Encoder_Init(&htim3, &sConfig) != HAL_OK)
  {
    Error_Handler();
  }
  sMasterConfig.MasterOutputTrigger = TIM_TRGO_RESET;
  sMasterConfig.MasterSlaveMode = TIM_MASTERSLAVEMODE_DISABLE;
  if (HAL_TIMEx_MasterConfigSynchronization(&htim3, &sMasterConfig) != HAL_OK)
  {
    Error_Handler();
  }

}

static void MX_TIM4_Init(void)
{

  TIM_MasterConfigTypeDef sMasterConfig = {0};
  TIM_OC_InitTypeDef sConfigOC = {0};

  htim4.Instance = TIM4;
  htim4.Init.Prescaler = 49;
  htim4.Init.CounterMode = TIM_COUNTERMODE_UP;
  htim4.Init.Period = 1999;
  htim4.Init.ClockDivision = TIM_CLOCKDIVISION_DIV1;
  htim4.Init.AutoReloadPreload = TIM_AUTORELOAD_PRELOAD_DISABLE;
  if (HAL_TIM_PWM_Init(&htim4) != HAL_OK)
  {
    Error_Handler();
  }
  sMasterConfig.MasterOutputTrigger = TIM_TRGO_RESET;
  sMasterConfig.MasterSlaveMode = TIM_MASTERSLAVEMODE_DISABLE;
  if (HAL_TIMEx_MasterConfigSynchronization(&htim4, &sMasterConfig) != HAL_OK)
  {
    Error_Handler();
  }
  sConfigOC.OCMode = TIM_OCMODE_PWM1;
  sConfigOC.Pulse = 1000;
  sConfigOC.OCPolarity = TIM_OCPOLARITY_HIGH;
  sConfigOC.OCFastMode = TIM_OCFAST_DISABLE;
  if (HAL_TIM_PWM_ConfigChannel(&htim4, &sConfigOC, TIM_CHANNEL_1) != HAL_OK)
  {
    Error_Handler();
  }
  HAL_TIM_MspPostInit(&htim4);

}

static void MX_TIM8_Init(void)
{

  TIM_MasterConfigTypeDef sMasterConfig = {0};
  TIM_OC_InitTypeDef sConfigOC = {0};
  TIM_BreakDeadTimeConfigTypeDef sBreakDeadTimeConfig = {0};

  htim8.Instance = TIM8;
  htim8.Init.Prescaler = 99;
  htim8.Init.CounterMode = TIM_COUNTERMODE_UP;
  htim8.Init.Period = 19999;
  htim8.Init.ClockDivision = TIM_CLOCKDIVISION_DIV1;
  htim8.Init.RepetitionCounter = 0;
  htim8.Init.AutoReloadPreload = TIM_AUTORELOAD_PRELOAD_DISABLE;
  if (HAL_TIM_PWM_Init(&htim8) != HAL_OK)
  {
    Error_Handler();
  }
  sMasterConfig.MasterOutputTrigger = TIM_TRGO_RESET;
  sMasterConfig.MasterSlaveMode = TIM_MASTERSLAVEMODE_DISABLE;
  if (HAL_TIMEx_MasterConfigSynchronization(&htim8, &sMasterConfig) != HAL_OK)
  {
    Error_Handler();
  }
  sConfigOC.OCMode = TIM_OCMODE_PWM1;
  sConfigOC.Pulse = 0;
  sConfigOC.OCPolarity = TIM_OCPOLARITY_HIGH;
  sConfigOC.OCNPolarity = TIM_OCNPOLARITY_HIGH;
  sConfigOC.OCFastMode = TIM_OCFAST_DISABLE;
  sConfigOC.OCIdleState = TIM_OCIDLESTATE_RESET;
  sConfigOC.OCNIdleState = TIM_OCNIDLESTATE_RESET;
  if (HAL_TIM_PWM_ConfigChannel(&htim8, &sConfigOC, TIM_CHANNEL_1) != HAL_OK)
  {
    Error_Handler();
  }
  sBreakDeadTimeConfig.OffStateRunMode = TIM_OSSR_DISABLE;
  sBreakDeadTimeConfig.OffStateIDLEMode = TIM_OSSI_DISABLE;
  sBreakDeadTimeConfig.LockLevel = TIM_LOCKLEVEL_OFF;
  sBreakDeadTimeConfig.DeadTime = 0;
  sBreakDeadTimeConfig.BreakState = TIM_BREAK_DISABLE;
  sBreakDeadTimeConfig.BreakPolarity = TIM_BREAKPOLARITY_HIGH;
  sBreakDeadTimeConfig.AutomaticOutput = TIM_AUTOMATICOUTPUT_DISABLE;
  if (HAL_TIMEx_ConfigBreakDeadTime(&htim8, &sBreakDeadTimeConfig) != HAL_OK)
  {
    Error_Handler();
  }
  HAL_TIM_MspPostInit(&htim8);

}

static void MX_GPIO_Init(void)
{
  GPIO_InitTypeDef GPIO_InitStruct = {0};

  /* GPIO Ports Clock Enable */
  __HAL_RCC_GPIOA_CLK_ENABLE();
  __HAL_RCC_GPIOE_CLK_ENABLE();
  __HAL_RCC_GPIOB_CLK_ENABLE();
  __HAL_RCC_GPIOC_CLK_ENABLE();

  /*Configure GPIO pin Output Level */
  HAL_GPIO_WritePin(GPIOB, EN_Pin|DIR_Pin|ENABLE_Pin, GPIO_PIN_RESET);

  /*Configure GPIO pins : EN_Pin DIR_Pin ENABLE_Pin */
  GPIO_InitStruct.Pin = EN_Pin|DIR_Pin|ENABLE_Pin;
  GPIO_InitStruct.Mode = GPIO_MODE_OUTPUT_PP;
  GPIO_InitStruct.Pull = GPIO_NOPULL;
  GPIO_InitStruct.Speed = GPIO_SPEED_FREQ_LOW;
  HAL_GPIO_Init(GPIOB, &GPIO_InitStruct);

  /*Configure GPIO pins : FC_Izquierda_Pin FC_Derecha_Pin */
  GPIO_InitStruct.Pin = FC_Izquierda_Pin|FC_Derecha_Pin;
  GPIO_InitStruct.Mode = GPIO_MODE_IT_FALLING;
  GPIO_InitStruct.Pull = GPIO_PULLUP;
  HAL_GPIO_Init(GPIOA, &GPIO_InitStruct);

  /*Configure GPIO pin : PA10 */
  GPIO_InitStruct.Pin = GPIO_PIN_10;
  GPIO_InitStruct.Mode = GPIO_MODE_INPUT;
  GPIO_InitStruct.Pull = GPIO_PULLUP;
  HAL_GPIO_Init(GPIOA, &GPIO_InitStruct);

}

void Error_Handler(void)
{
  __disable_irq();
  while (1)
  {
  }
}
